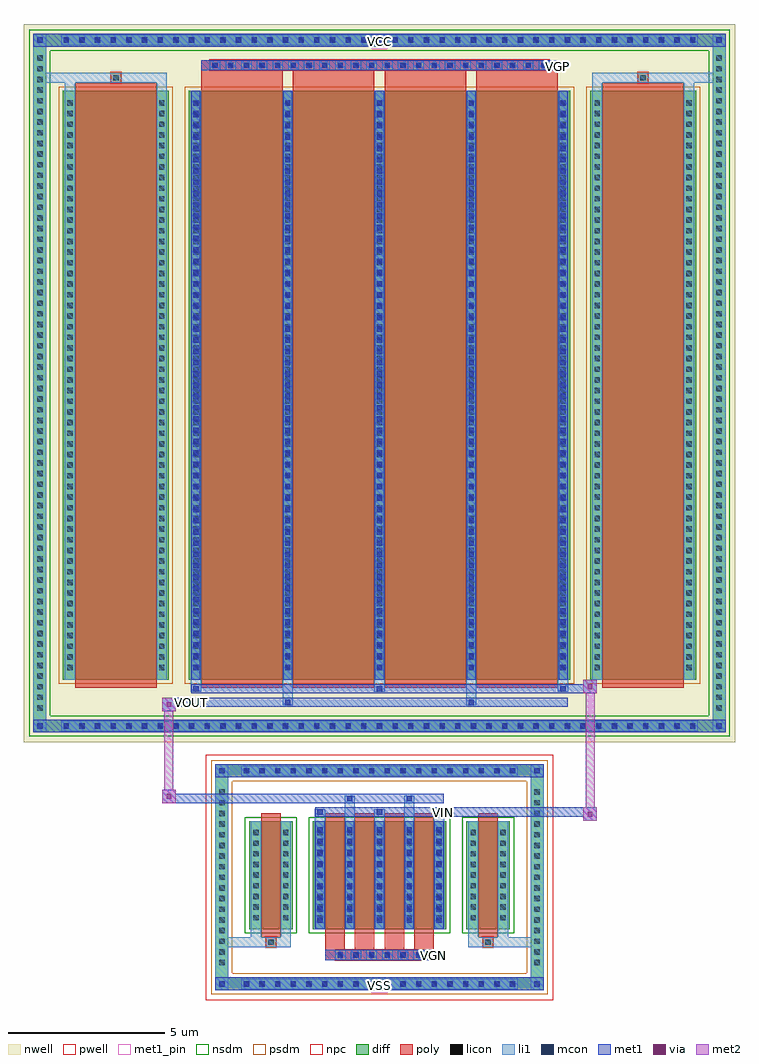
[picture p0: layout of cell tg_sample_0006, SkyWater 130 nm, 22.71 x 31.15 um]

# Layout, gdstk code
import gdstk
lib = gdstk.Library(unit=1e-6, precision=5e-09)
def R(c, l, rs):  # rectangles x0, y0, x1, y1
    for r in rs: c.add(gdstk.rectangle(r[:2], r[2:], *l))
def A(c, l, x, y, w, h, nx, ny, dx, dy):  # array of equal rectangles
    R(c, l, [(x+i*dx, y+j*dy, x+i*dx+w, y+j*dy+h) for i in range(nx) for j in range(ny)])
def P(c, l, *ps):  # polygons
    for p in ps: c.add(gdstk.Polygon(p, *l))
nwell = (64, 20)
pwell = (64, 44)
diff = (65, 20)
poly = (66, 20)
licon = (66, 44)
li1 = (67, 20)
mcon = (67, 44)
met1_pin = (68, 16)
met1 = (68, 20)
via = (68, 44)
met2 = (69, 20)
nsdm = (93, 44)
psdm = (94, 20)
npc = (95, 20)

tg_sample_0006 = lib.new_cell('tg_sample_0006')
R(tg_sample_0006, nwell, [(-11.355,4.315,11.355,27.235)])
R(tg_sample_0006, pwell, [(-5.545,-3.915,5.545,3.915)])
A(tg_sample_0006, diff, -4.455, -3.605, 0.41, 0.41, 18, 2, 0.5, 6.8)
A(tg_sample_0006, diff, -5.235, -2.925, 0.41, 0.41, 1, 17, 0, 0.34)
A(tg_sample_0006, diff, 4.825, -2.925, 0.41, 0.41, 1, 17, 0, 0.34)
A(tg_sample_0006, diff, -10.205, 4.625, 0.41, 0.41, 41, 2, 0.5, 21.89)
A(tg_sample_0006, diff, -11.045, 5.2, 0.41, 0.41, 1, 62, 0, 0.34)
A(tg_sample_0006, diff, 10.635, 5.2, 0.41, 0.41, 1, 62, 0, 0.34)
R(tg_sample_0006, diff, [(-4.455,-3.605,4.455,-3.195), (-5.235,-2.925,-4.825,2.925), (4.825,-2.925,5.235,2.925), (-4.165,-1.655,-2.765,1.795), (-2.125,-1.655,2.125,1.795), (2.765,-1.655,4.165,1.795), (-4.455,3.195,4.455,3.605), (-10.205,4.625,10.205,5.035), (-11.045,5.2,-10.635,26.35), (10.635,5.2,11.045,26.35), (-10.105,6.305,-6.725,25.105), (-6.085,6.305,6.085,25.105), (6.725,6.305,10.105,25.105), (-10.205,26.515,10.205,26.925)])
P(tg_sample_0006, diff, [(5.235,3.605),(-5.235,3.605),(-5.235,-3.195),(-4.825,-3.195),(-4.825,3.195),(4.825,3.195),(4.825,-3.195),(-4.825,-3.195),(-5.235,-3.195),(-5.235,-3.605),(5.235,-3.605)],
  [(11.045,4.625),(-11.045,4.625),(-11.045,26.515),(-10.635,26.515),(-10.635,5.035),(10.635,5.035),(10.635,26.515),(-10.635,26.515),(-11.045,26.515),(-11.045,26.925),(11.045,26.925)])
A(tg_sample_0006, poly, -1.415, -2.64, 0.33, 0.33, 6, 1, 0.5, 0)
A(tg_sample_0006, poly, -1.735, -2.31, 0.62, 0.405, 4, 1, 0.95, 0)
A(tg_sample_0006, poly, -1.735, -1.905, 0.62, 3.95, 4, 1, 0.95, 0)
A(tg_sample_0006, poly, -5.695, 6.055, 2.6, 19.3, 4, 1, 2.93, 0)
A(tg_sample_0006, poly, -5.695, 25.355, 2.6, 0.4, 4, 1, 2.93, 0)
A(tg_sample_0006, poly, -5.415, 25.755, 0.33, 0.33, 22, 1, 0.5, 0)
R(tg_sample_0006, poly, [(-1.735,-2.64,1.735,-2.31), (-3.63,-2.235,-3.3,-1.905), (-3.63,-2.235,-3.3,-1.905), (3.3,-2.235,3.63,-1.905), (3.3,-2.235,3.63,-1.905), (-3.775,-1.905,-3.155,2.045), (3.155,-1.905,3.775,2.045), (-9.715,6.055,-7.115,25.355), (7.115,6.055,9.715,25.355), (-8.58,25.355,-8.25,25.685), (-8.58,25.355,-8.25,25.685), (8.25,25.355,8.58,25.685), (8.25,25.355,8.58,25.685), (-5.695,25.755,5.695,26.085)])
A(tg_sample_0006, licon, -4.335, -3.485, 0.17, 0.17, 18, 2, 0.5, 6.8)
A(tg_sample_0006, licon, -5.115, -2.805, 0.17, 0.17, 1, 17, 0, 0.34)
A(tg_sample_0006, licon, 4.945, -2.805, 0.17, 0.17, 1, 17, 0, 0.34)
A(tg_sample_0006, licon, -1.335, -2.56, 0.17, 0.17, 6, 1, 0.5, 0)
A(tg_sample_0006, licon, -4.025, -1.375, 0.17, 0.17, 1, 9, 0, 0.34)
A(tg_sample_0006, licon, -3.075, -1.375, 0.17, 0.17, 1, 9, 0, 0.34)
A(tg_sample_0006, licon, -1.985, -1.375, 0.17, 0.17, 5, 9, 0.95, 0.34)
A(tg_sample_0006, licon, 2.905, -1.375, 0.17, 0.17, 1, 9, 0, 0.34)
A(tg_sample_0006, licon, 3.855, -1.375, 0.17, 0.17, 1, 9, 0, 0.34)
A(tg_sample_0006, licon, -10.085, 4.745, 0.17, 0.17, 41, 2, 0.5, 21.89)
A(tg_sample_0006, licon, -10.925, 5.32, 0.17, 0.17, 1, 62, 0, 0.34)
A(tg_sample_0006, licon, 10.755, 5.32, 0.17, 0.17, 1, 62, 0, 0.34)
A(tg_sample_0006, licon, -9.965, 6.61, 0.17, 0.17, 1, 54, 0, 0.34)
A(tg_sample_0006, licon, -7.035, 6.61, 0.17, 0.17, 1, 54, 0, 0.34)
A(tg_sample_0006, licon, -5.945, 6.61, 0.17, 0.17, 5, 54, 2.93, 0.34)
A(tg_sample_0006, licon, 6.865, 6.61, 0.17, 0.17, 1, 54, 0, 0.34)
A(tg_sample_0006, licon, 9.795, 6.61, 0.17, 0.17, 1, 54, 0, 0.34)
A(tg_sample_0006, licon, -5.335, 25.835, 0.17, 0.17, 22, 1, 0.5, 0)
R(tg_sample_0006, licon, [(-3.55,-2.155,-3.38,-1.985), (3.38,-2.155,3.55,-1.985), (-8.5,25.435,-8.33,25.605), (8.33,25.435,8.5,25.605)])
A(tg_sample_0006, li1, -4.415, -3.565, 0.33, 0.33, 18, 2, 0.5, 6.8)
A(tg_sample_0006, li1, -5.195, -2.885, 0.33, 0.33, 1, 17, 0, 0.34)
A(tg_sample_0006, li1, 4.865, -2.885, 0.33, 0.33, 1, 17, 0, 0.34)
A(tg_sample_0006, li1, -1.415, -2.64, 0.33, 0.33, 6, 1, 0.5, 0)
A(tg_sample_0006, li1, -2.065, -1.655, 0.33, 3.45, 5, 1, 0.95, 0)
A(tg_sample_0006, li1, -4.105, -1.455, 0.33, 0.33, 1, 9, 0, 0.34)
A(tg_sample_0006, li1, -3.155, -1.455, 0.33, 0.33, 1, 9, 0, 0.34)
A(tg_sample_0006, li1, -2.065, -1.455, 0.33, 0.33, 5, 9, 0.95, 0.34)
A(tg_sample_0006, li1, -1.985, -1.455, 0.17, 0.17, 5, 9, 0.95, 0.36)
A(tg_sample_0006, li1, -1.985, -1.455, 0.17, 3.05, 5, 1, 0.95, 0)
A(tg_sample_0006, li1, 2.825, -1.455, 0.33, 0.33, 1, 9, 0, 0.34)
A(tg_sample_0006, li1, 3.775, -1.455, 0.33, 0.33, 1, 9, 0, 0.34)
A(tg_sample_0006, li1, -2.065, 1.795, 0.33, 0.375, 3, 1, 1.9, 0)
A(tg_sample_0006, li1, -1.985, 2, 0.17, 0.17, 3, 1, 1.9, 0)
A(tg_sample_0006, li1, -10.165, 4.665, 0.33, 0.33, 41, 2, 0.5, 21.89)
A(tg_sample_0006, li1, -11.005, 5.24, 0.33, 0.33, 1, 62, 0, 0.34)
A(tg_sample_0006, li1, 10.675, 5.24, 0.33, 0.33, 1, 62, 0, 0.34)
A(tg_sample_0006, li1, -6.025, 5.93, 0.33, 0.375, 3, 1, 5.86, 0)
A(tg_sample_0006, li1, -5.945, 5.93, 0.17, 0.17, 3, 1, 5.86, 0)
A(tg_sample_0006, li1, -6.025, 6.305, 0.33, 18.8, 5, 1, 2.93, 0)
A(tg_sample_0006, li1, -10.045, 6.53, 0.33, 0.33, 1, 54, 0, 0.34)
A(tg_sample_0006, li1, -7.115, 6.53, 0.33, 0.33, 1, 54, 0, 0.34)
A(tg_sample_0006, li1, -6.025, 6.53, 0.33, 0.33, 5, 54, 2.93, 0.34)
A(tg_sample_0006, li1, 6.785, 6.53, 0.33, 0.33, 1, 54, 0, 0.34)
A(tg_sample_0006, li1, 9.715, 6.53, 0.33, 0.33, 1, 54, 0, 0.34)
A(tg_sample_0006, li1, -5.945, 6.62, 0.17, 0.17, 5, 51, 2.93, 0.36)
A(tg_sample_0006, li1, -5.945, 6.62, 0.17, 18.17, 5, 1, 2.93, 0)
A(tg_sample_0006, li1, -5.415, 25.755, 0.33, 0.33, 22, 1, 0.5, 0)
R(tg_sample_0006, li1, [(-5.235,-3.605,-4.825,-3.195), (4.825,-3.605,5.235,-3.195), (-4.415,-3.565,4.415,-3.235), (-5.115,-3.485,-4.945,-3.315), (-5.115,-3.485,-4.945,-3.315), (4.945,-3.485,5.115,-3.315), (4.945,-3.485,5.115,-3.315), (-5.235,-3.195,-4.825,3.195), (4.825,-3.195,5.235,3.195), (-5.235,-2.235,-3.63,-1.905), (-4.105,-2.235,-3.63,-1.905), (-4.105,-2.235,-3.775,-1.655), (-3.63,-2.235,-3.3,-1.905), (-3.3,-2.235,-2.825,-1.905), (-3.155,-2.235,-2.825,-1.655), (2.825,-2.235,3.3,-1.905), (2.825,-2.235,3.155,-1.655), (3.3,-2.235,3.63,-1.905), (3.3,-2.235,5.235,-1.905), (3.63,-2.235,4.105,-1.905), (3.775,-2.235,4.105,-1.655), (-4.105,-1.655,-3.775,1.795), (-3.155,-1.655,-2.825,1.795), (2.825,-1.655,3.155,1.795), (3.775,-1.655,4.105,1.795), (-1.115,1.795,-0.785,2.6), (0.785,1.795,1.115,2.6), (-1.035,2.43,-0.865,2.6), (0.865,2.43,1.035,2.6), (-5.235,3.195,-4.825,3.605), (4.825,3.195,5.235,3.605), (-4.415,3.235,4.415,3.565), (-5.115,3.315,-4.945,3.485), (-5.115,3.315,-4.945,3.485), (4.945,3.315,5.115,3.485), (4.945,3.315,5.115,3.485), (-11.045,4.625,-10.635,5.035), (10.635,4.625,11.045,5.035), (-10.165,4.665,10.165,4.995), (-10.925,4.745,-10.755,4.915), (-10.925,4.745,-10.755,4.915), (10.755,4.745,10.925,4.915), (10.755,4.745,10.925,4.915), (-11.045,5.035,-10.635,26.515), (10.635,5.035,11.045,26.515), (-3.095,5.5,-2.765,6.305), (-3.015,5.5,-2.845,5.67), (2.765,5.5,3.095,6.305), (2.845,5.5,3.015,5.67), (-10.045,6.305,-9.715,25.105), (-7.115,6.305,-6.785,25.105), (6.785,6.305,7.115,25.105), (9.715,6.305,10.045,25.105), (-10.045,25.105,-9.715,25.685), (-7.115,25.105,-6.785,25.685), (6.785,25.105,7.115,25.685), (9.715,25.105,10.045,25.685), (-11.045,25.355,-8.58,25.685), (-10.045,25.355,-8.58,25.685), (-8.58,25.355,-8.25,25.685), (-8.25,25.355,-6.785,25.685), (6.785,25.355,8.25,25.685), (8.25,25.355,8.58,25.685), (8.25,25.355,11.045,25.685), (8.58,25.355,10.045,25.685), (-11.045,26.515,-10.635,26.925), (10.635,26.515,11.045,26.925), (-10.165,26.555,10.165,26.885), (-10.925,26.635,-10.755,26.805), (-10.925,26.635,-10.755,26.805), (10.755,26.635,10.925,26.805), (10.755,26.635,10.925,26.805)])
A(tg_sample_0006, mcon, -4.335, -3.485, 0.17, 0.17, 18, 2, 0.5, 6.8)
A(tg_sample_0006, mcon, -1.335, -2.56, 0.17, 0.17, 6, 1, 0.5, 0)
A(tg_sample_0006, mcon, -1.985, -1.455, 0.17, 0.17, 5, 9, 0.95, 0.36)
A(tg_sample_0006, mcon, -1.985, 2, 0.17, 0.17, 3, 1, 1.9, 0)
A(tg_sample_0006, mcon, -10.085, 4.745, 0.17, 0.17, 41, 2, 0.5, 21.89)
A(tg_sample_0006, mcon, -5.945, 5.93, 0.17, 0.17, 3, 1, 5.86, 0)
A(tg_sample_0006, mcon, -5.945, 6.62, 0.17, 0.17, 5, 51, 2.93, 0.36)
A(tg_sample_0006, mcon, -5.335, 25.835, 0.17, 0.17, 22, 1, 0.5, 0)
R(tg_sample_0006, mcon, [(-5.115,-3.485,-4.945,-3.315), (4.945,-3.485,5.115,-3.315), (-1.035,2.43,-0.865,2.6), (0.865,2.43,1.035,2.6), (-5.115,3.315,-4.945,3.485), (4.945,3.315,5.115,3.485), (-10.925,4.745,-10.755,4.915), (10.755,4.745,10.925,4.915), (-3.015,5.5,-2.845,5.67), (2.845,5.5,3.015,5.67), (-10.925,26.635,-10.755,26.805), (10.755,26.635,10.925,26.805)])
R(tg_sample_0006, met1_pin, [(-0.25,-3.695,0.25,-3.195), (1.6,-2.64,1.87,-2.37), (1.91,1.94,2.18,2.21), (-6.14,5.44,-5.87,5.71), (5.56,25.755,5.83,26.025), (-0.25,26.425,0.25,26.925)])
A(tg_sample_0006, met1, -4.395, -3.545, 0.29, 0.29, 18, 2, 0.5, 6.8)
A(tg_sample_0006, met1, -1.395, -2.62, 0.29, 0.29, 6, 1, 0.5, 0)
A(tg_sample_0006, met1, -2.045, -1.655, 0.29, 3.45, 5, 1, 0.95, 0)
A(tg_sample_0006, met1, -2.045, -1.515, 0.29, 0.29, 5, 9, 0.95, 0.36)
A(tg_sample_0006, met1, -2.045, 1.94, 0.29, 0.29, 3, 1, 1.9, 0)
A(tg_sample_0006, met1, -10.145, 4.685, 0.29, 0.29, 41, 2, 0.5, 21.89)
A(tg_sample_0006, met1, -6.005, 5.87, 0.29, 0.29, 3, 1, 5.86, 0)
A(tg_sample_0006, met1, -6.005, 6.305, 0.29, 18.8, 5, 1, 2.93, 0)
A(tg_sample_0006, met1, -6.005, 6.56, 0.29, 0.29, 5, 51, 2.93, 0.36)
A(tg_sample_0006, met1, -5.395, 25.775, 0.29, 0.29, 22, 1, 0.5, 0)
R(tg_sample_0006, met1, [(-5.235,-3.605,-4.825,-3.195), (-5.235,-3.605,-4.825,-3.195), (-4.825,-3.605,4.825,-3.195), (4.825,-3.605,5.235,-3.195), (4.825,-3.605,5.235,-3.195), (-5.175,-3.545,-4.885,-3.255), (4.885,-3.545,5.175,-3.255), (-1.735,-2.64,1.735,-2.31), (6.505,1.8,6.935,2.23), (-2.045,1.94,2.045,2.23), (2.045,1.94,6.935,2.23), (-6.935,2.37,-2.045,2.66), (-6.935,2.37,-6.505,2.8), (-2.045,2.37,2.045,2.66), (-1.095,2.37,-0.805,2.66), (0.805,2.37,1.095,2.66), (-5.235,3.195,-4.825,3.605), (-5.235,3.195,-4.825,3.605), (-4.825,3.195,4.825,3.605), (4.825,3.195,5.235,3.605), (4.825,3.195,5.235,3.605), (-5.175,3.255,-4.885,3.545), (4.885,3.255,5.175,3.545), (-11.045,4.625,-10.635,5.035), (-11.045,4.625,-10.635,5.035), (-10.635,4.625,10.635,5.035), (10.635,4.625,11.045,5.035), (10.635,4.625,11.045,5.035), (-10.985,4.685,-10.695,4.975), (10.695,4.685,10.985,4.975), (-6.935,5.3,-6.505,5.73), (-6.935,5.44,-6.005,5.73), (-6.005,5.44,6.005,5.73), (-3.075,5.44,-2.785,5.73), (2.785,5.44,3.075,5.73), (-6.005,5.87,6.005,6.16), (6.005,5.87,6.935,6.16), (6.505,5.87,6.935,6.3), (-5.695,25.755,5.695,26.085), (-11.045,26.515,-10.635,26.925), (-11.045,26.515,-10.635,26.925), (-10.635,26.515,10.635,26.925), (10.635,26.515,11.045,26.925), (10.635,26.515,11.045,26.925), (-10.985,26.575,-10.695,26.865), (10.695,26.575,10.985,26.865)])
R(tg_sample_0006, via, [(6.645,1.94,6.795,2.09), (-6.795,2.51,-6.645,2.66), (-6.795,5.44,-6.645,5.59), (6.645,6.01,6.795,6.16)])
R(tg_sample_0006, met2, [(6.505,1.8,6.935,2.23), (6.575,1.8,6.865,6.3), (6.865,1.8,6.935,2.23), (6.555,1.85,6.885,2.18), (-6.935,2.37,-6.505,2.8), (-6.865,2.37,-6.575,5.73), (-6.575,2.37,-6.505,2.8), (-6.885,2.42,-6.555,2.75), (-6.935,5.3,-6.505,5.73), (-6.575,5.3,-6.505,5.73), (-6.885,5.35,-6.555,5.68), (6.505,5.87,6.935,6.3), (6.865,5.87,6.935,6.3), (6.555,5.92,6.885,6.25)])
R(tg_sample_0006, nsdm, [(-4.295,-1.785,-2.635,1.925), (-2.255,-1.785,2.255,1.925), (2.635,-1.785,4.295,1.925)])
P(tg_sample_0006, nsdm, [(11.175,4.495),(-11.175,4.495),(-11.175,26.385),(-10.505,26.385),(-10.505,5.165),(10.505,5.165),(10.505,26.385),(-10.505,26.385),(-11.175,26.385),(-11.175,27.055),(11.175,27.055)])
R(tg_sample_0006, psdm, [(-10.235,6.175,-6.595,25.235), (-6.215,6.175,6.215,25.235), (6.595,6.175,10.235,25.235)])
P(tg_sample_0006, psdm, [(5.365,3.735),(-5.365,3.735),(-5.365,-3.065),(-4.695,-3.065),(-4.695,3.065),(4.695,3.065),(4.695,-3.065),(-4.695,-3.065),(-5.365,-3.065),(-5.365,-3.735),(5.365,-3.735)])
A(tg_sample_0006, npc, -1.435, -2.66, 0.37, 0.37, 6, 1, 0.5, 0)
A(tg_sample_0006, npc, -5.435, 25.735, 0.37, 0.37, 22, 1, 0.5, 0)
R(tg_sample_0006, npc, [(-1.435,-2.66,-0.565,-2.29), (-1.435,-2.66,-0.565,-2.29), (-0.935,-2.66,-0.065,-2.29), (-0.935,-2.66,-0.065,-2.29), (-0.435,-2.66,0.435,-2.29), (-0.435,-2.66,0.435,-2.29), (0.065,-2.66,0.935,-2.29), (0.065,-2.66,0.935,-2.29), (0.565,-2.66,1.435,-2.29), (0.565,-2.66,1.435,-2.29), (-3.65,-2.255,-3.28,-1.885), (3.28,-2.255,3.65,-1.885), (-8.6,25.335,-8.23,25.705), (8.23,25.335,8.6,25.705), (-5.435,25.735,-4.565,26.105), (-5.435,25.735,-4.565,26.105), (-4.935,25.735,-4.065,26.105), (-4.935,25.735,-4.065,26.105), (-4.435,25.735,-3.565,26.105), (-4.435,25.735,-3.565,26.105), (-3.935,25.735,-3.065,26.105), (-3.935,25.735,-3.065,26.105), (-3.435,25.735,-2.565,26.105), (-3.435,25.735,-2.565,26.105), (-2.935,25.735,-2.065,26.105), (-2.935,25.735,-2.065,26.105), (-2.435,25.735,-1.565,26.105), (-2.435,25.735,-1.565,26.105), (-1.935,25.735,-1.065,26.105), (-1.935,25.735,-1.065,26.105), (-1.435,25.735,-0.565,26.105), (-1.435,25.735,-0.565,26.105), (-0.935,25.735,-0.065,26.105), (-0.935,25.735,-0.065,26.105), (-0.435,25.735,0.435,26.105), (-0.435,25.735,0.435,26.105), (0.065,25.735,0.935,26.105), (0.065,25.735,0.935,26.105), (0.565,25.735,1.435,26.105), (0.565,25.735,1.435,26.105), (1.065,25.735,1.935,26.105), (1.065,25.735,1.935,26.105), (1.565,25.735,2.435,26.105), (1.565,25.735,2.435,26.105), (2.065,25.735,2.935,26.105), (2.065,25.735,2.935,26.105), (2.565,25.735,3.435,26.105), (2.565,25.735,3.435,26.105), (3.065,25.735,3.935,26.105), (3.065,25.735,3.935,26.105), (3.565,25.735,4.435,26.105), (3.565,25.735,4.435,26.105), (4.065,25.735,4.935,26.105), (4.065,25.735,4.935,26.105), (4.565,25.735,5.435,26.105), (4.565,25.735,5.435,26.105)])
tg_sample_0006.add(gdstk.Label('VIN', (2.045,2.075), layer=68, texttype=5))
tg_sample_0006.add(gdstk.Label('VGN', (1.735,-2.505), layer=68, texttype=5))
tg_sample_0006.add(gdstk.Label('VGP', (5.695,25.89), layer=68, texttype=5))
tg_sample_0006.add(gdstk.Label('VSS', (0,-3.445), layer=68, texttype=5))
tg_sample_0006.add(gdstk.Label('VCC', (0,26.675), layer=68, texttype=5))
tg_sample_0006.add(gdstk.Label('VOUT', (-6.005,5.575), layer=68, texttype=5))

lib.write_gds('tg_sample_0006.gds')
